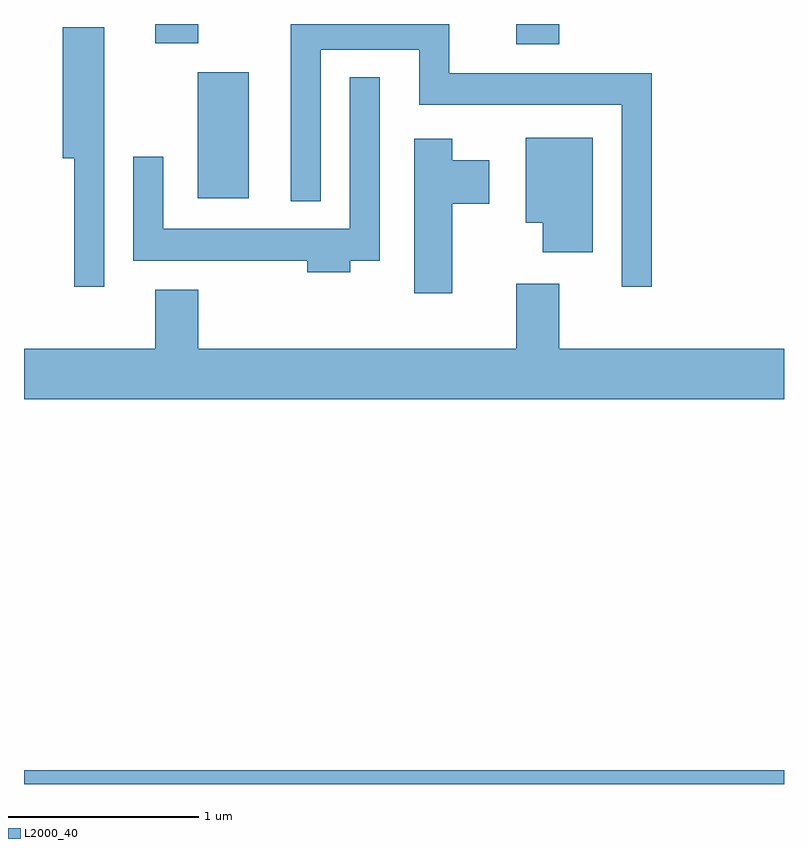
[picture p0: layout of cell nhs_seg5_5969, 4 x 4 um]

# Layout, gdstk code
import gdstk
lib = gdstk.Library(unit=1e-6, precision=1e-09)
def R(c, l, rs):  # rectangles x0, y0, x1, y1
    for r in rs: c.add(gdstk.rectangle(r[:2], r[2:], *l))
def P(c, l, *ps):  # polygons
    for p in ps: c.add(gdstk.Polygon(p, *l))
L2000_40 = (2000, 40)

nhs_seg5_5969 = lib.new_cell('nhs_seg5_5969')
R(nhs_seg5_5969, L2000_40, [(361.611,1488.072,365.611,1488.144), (362.526,1491.156,362.794,1491.819), (364.201,1491.966,364.429,1492.072), (362.301,1491.971,362.529,1492.072)])
P(nhs_seg5_5969, L2000_40, [(364.914,1491.814),(363.849,1491.814),(363.849,1492.072),(363.016,1492.072),(363.016,1491.138),(363.174,1491.138),(363.174,1491.936),(363.691,1491.936),(363.691,1491.646),(364.756,1491.646),(364.756,1490.688),(364.914,1490.688)],
  [(362.034,1492.054),(361.816,1492.054),(361.816,1491.366),(361.876,1491.366),(361.876,1490.688),(362.034,1490.688)],
  [(363.329,1490.826),(363.484,1490.826),(363.484,1491.793),(363.326,1491.793),(363.326,1490.994),(362.344,1490.994),(362.344,1491.373),(362.186,1491.373),(362.186,1490.826),(363.101,1490.826),(363.101,1490.766),(363.329,1490.766)],
  [(364.604,1491.474),(364.251,1491.474),(364.251,1491.026),(364.341,1491.026),(364.341,1490.871),(364.604,1490.871)],
  [(363.864,1491.126),(364.059,1491.126),(364.059,1491.354),(363.864,1491.354),(363.864,1491.469),(363.666,1491.469),(363.666,1490.656),(363.864,1490.656)],
  [(365.611,1490.364),(364.429,1490.364),(364.429,1490.704),(364.201,1490.704),(364.201,1490.364),(362.529,1490.364),(362.529,1490.674),(362.301,1490.674),(362.301,1490.364),(361.611,1490.364),(361.611,1490.096),(365.611,1490.096)])

lib.write_gds('nhs_seg5_5969.gds')
